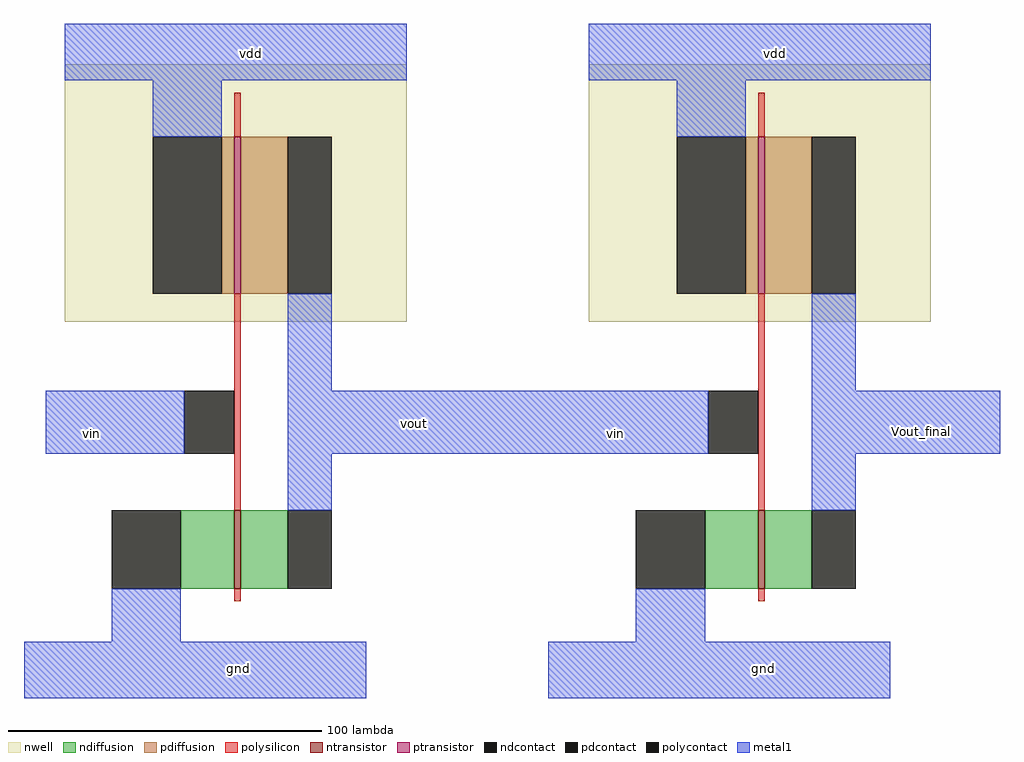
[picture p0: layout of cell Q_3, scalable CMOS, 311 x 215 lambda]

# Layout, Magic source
magic
tech scmos
<< nwell >>
rect 74 80 183 162
rect 241 80 350 162
<< ntransistor >>
rect 128 -5 130 20
rect 295 -5 297 20
<< ptransistor >>
rect 128 89 130 139
rect 295 89 297 139
<< ndiffusion >>
rect 111 -5 128 20
rect 130 -5 145 20
rect 278 -5 295 20
rect 297 -5 312 20
<< pdiffusion >>
rect 124 89 128 139
rect 130 89 145 139
rect 291 89 295 139
rect 297 89 312 139
<< ndcontact >>
rect 89 -5 111 20
rect 145 -5 159 20
rect 256 -5 278 20
rect 312 -5 326 20
<< pdcontact >>
rect 102 89 124 139
rect 145 89 159 139
rect 269 89 291 139
rect 312 89 326 139
<< polysilicon >>
rect 128 139 130 153
rect 295 139 297 153
rect 128 20 130 89
rect 295 20 297 89
rect 128 -9 130 -5
rect 295 -9 297 -5
<< polycontact >>
rect 112 38 128 58
rect 279 38 295 58
<< metal1 >>
rect 74 157 183 175
rect 241 157 350 175
rect 102 139 124 157
rect 269 139 291 157
rect 145 58 159 89
rect 312 58 326 89
rect 68 38 112 58
rect 145 38 279 58
rect 312 38 372 58
rect 145 20 159 38
rect 312 20 326 38
rect 89 -22 111 -5
rect 256 -22 278 -5
rect 61 -40 170 -22
rect 228 -40 337 -22
<< labels >>
rlabel metal1 82 44 83 45 1 vin
rlabel metal1 177 45 194 50 1 vout
rlabel metal1 129 -31 130 -30 1 gnd
rlabel metal1 133 165 134 166 1 vdd
rlabel metal1 249 44 250 45 1 vin
rlabel metal1 296 -31 297 -30 1 gnd
rlabel metal1 300 165 301 166 1 vdd
rlabel metal1 343 42 351 48 1 Vout_final
<< end >>
